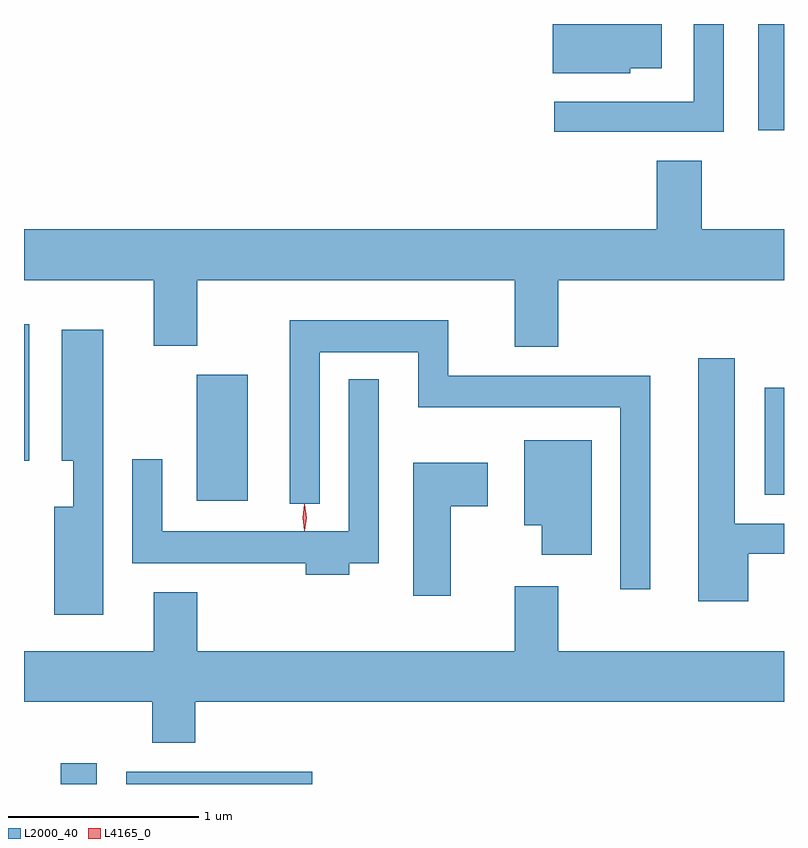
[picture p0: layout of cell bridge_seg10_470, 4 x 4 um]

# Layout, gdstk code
import gdstk
lib = gdstk.Library(unit=1e-6, precision=1e-09)
def R(c, l, rs):  # rectangles x0, y0, x1, y1
    for r in rs: c.add(gdstk.rectangle(r[:2], r[2:], *l))
def P(c, l, *ps):  # polygons
    for p in ps: c.add(gdstk.Polygon(p, *l))
L2000_40 = (2000, 40)
L4165_0 = (4165, 0)

bridge_seg10_470 = lib.new_cell('bridge_seg10_470')
R(bridge_seg10_470, L2000_40, [(898.681,2164.544,898.869,2164.654), (899.026,2164.544,900.004,2164.609), (899.396,2166.036,899.664,2166.699), (902.386,2166.066,902.487,2166.629), (898.487,2166.246,898.514,2166.964), (902.351,2167.986,902.487,2168.544)])
P(bridge_seg10_470, L2000_40, [(901.679,2168.311),(901.844,2168.311),(901.844,2168.544),(901.271,2168.544),(901.271,2168.286),(901.679,2168.286)],
  [(902.169,2168.544),(902.011,2168.544),(902.011,2168.134),(901.278,2168.134),(901.278,2167.976),(902.169,2167.976)],
  [(901.299,2167.196),(902.487,2167.196),(902.487,2167.464),(902.054,2167.464),(902.054,2167.824),(901.816,2167.824),(901.816,2167.464),(898.487,2167.464),(898.487,2167.196),(899.171,2167.196),(899.171,2166.851),(899.399,2166.851),(899.399,2167.196),(901.071,2167.196),(901.071,2166.846),(901.299,2166.846)],
  [(901.784,2166.694),(900.719,2166.694),(900.719,2166.984),(899.886,2166.984),(899.886,2166.018),(900.044,2166.018),(900.044,2166.816),(900.561,2166.816),(900.561,2166.526),(901.626,2166.526),(901.626,2165.568),(901.784,2165.568)],
  [(898.904,2166.934),(898.686,2166.934),(898.686,2166.246),(898.746,2166.246),(898.746,2166.004),(898.646,2166.004),(898.646,2165.436),(898.904,2165.436)],
  [(902.299,2165.756),(902.487,2165.756),(902.487,2165.914),(902.229,2165.914),(902.229,2166.784),(902.036,2166.784),(902.036,2165.506),(902.299,2165.506)],
  [(900.199,2165.706),(900.354,2165.706),(900.354,2166.673),(900.196,2166.673),(900.196,2165.874),(899.214,2165.874),(899.214,2166.253),(899.056,2166.253),(899.056,2165.706),(899.971,2165.706),(899.971,2165.646),(900.199,2165.646)],
  [(901.474,2166.354),(901.121,2166.354),(901.121,2165.906),(901.211,2165.906),(901.211,2165.751),(901.474,2165.751)],
  [(900.734,2166.006),(900.929,2166.006),(900.929,2166.234),(900.536,2166.234),(900.536,2165.536),(900.734,2165.536)],
  [(899.389,2164.976),(902.487,2164.976),(902.487,2165.244),(901.299,2165.244),(901.299,2165.584),(901.071,2165.584),(901.071,2165.244),(899.399,2165.244),(899.399,2165.554),(899.171,2165.554),(899.171,2165.244),(898.487,2165.244),(898.487,2164.976),(899.161,2164.976),(899.161,2164.761),(899.389,2164.761)])
P(bridge_seg10_470, L4165_0, [(899.964,2165.877),(899.963,2165.878),(899.954,2165.946),(899.963,2166.016),(899.964,2166.016),(899.964,2166.016),(899.974,2165.946),(899.964,2165.878)],
  [(899.964,2165.879),(899.963,2165.88),(899.954,2165.946),(899.963,2166.012),(899.964,2166.013),(899.964,2166.012),(899.974,2165.946),(899.964,2165.88)])

lib.write_gds('bridge_seg10_470.gds')
